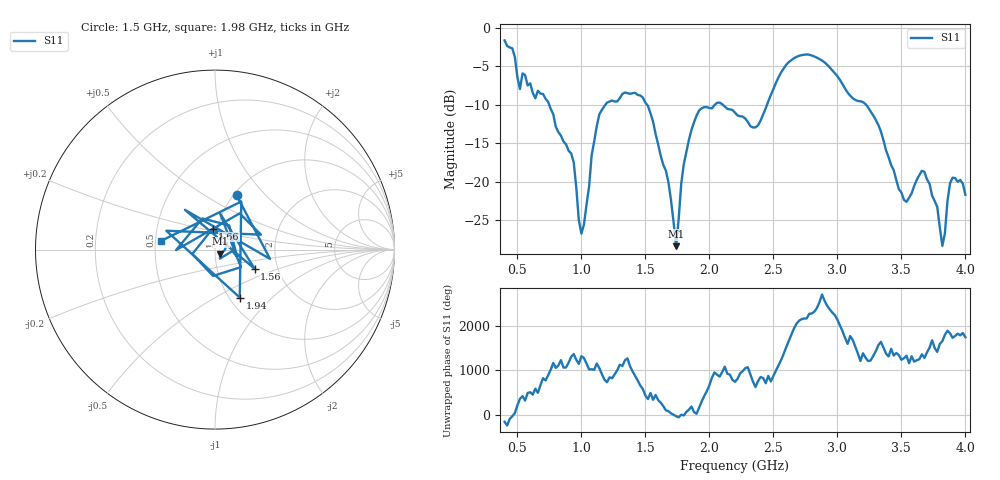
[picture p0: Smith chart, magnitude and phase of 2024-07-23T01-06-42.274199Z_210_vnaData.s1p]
!Created with skrf (http://scikit-rf.org).
# Hz S RI R 50.0
!freq ReS11 ImS11
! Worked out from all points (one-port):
!   181 points, 400 MHz to 4 GHz, reference 50 ohm
!   lowest |S11| = -28.4 dB at 1.74 GHz (marker M1), VSWR 1.08, Z = 53 - j2.47 ohm
!   |S11| at or under -10 dB: 748.7 MHz to 1.187 GHz (438.2 MHz wide, 45.3 % of centre); 1.513 GHz to 2.042 GHz (528.9 MHz wide, 29.8 % of centre); 3.224 GHz to end of sweep (the widest 3 of 4)
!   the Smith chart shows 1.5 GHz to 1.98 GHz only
!   S11 on the Smith chart (normalised r, x): 1.5 GHz: 1.03, +0.70; 1.56 GHz: 1.52, -0.35; 1.66 GHz: 0.95, +0.23; 1.94 GHz: 1.12, -0.66; 1.98 GHz: 0.53, +0.06
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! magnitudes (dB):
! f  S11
! 400 MHz  -1.6
! 520 MHz  -7.9
! 700 MHz  -8.6
! 860 MHz  -14.8
! 940 MHz  -17.5
! 1 GHz  -26.7
! 1.14 GHz  -11.2
! 1.3 GHz  -9.1
! 1.5 GHz  -9.7
! 1.56 GHz  -12.2
! 1.66 GHz  -18.6
! 1.74 GHz  -28.4
! 1.76 GHz  -24.8
! 1.8 GHz  -17.7
! 1.94 GHz  -10.4
! 1.98 GHz  -10.3
! 2.2 GHz  -11.0
! 2.38 GHz  -12.7
! 2.66 GHz  -3.9
! 2.88 GHz  -4.2
! 3.1 GHz  -8.8
! 3.28 GHz  -11.4
! 3.56 GHz  -22.1
! 3.68 GHz  -18.7
! 3.78 GHz  -23.3
! 3.82 GHz  -28.3
! 3.9 GHz  -19.5
! 4 GHz  -21.7
